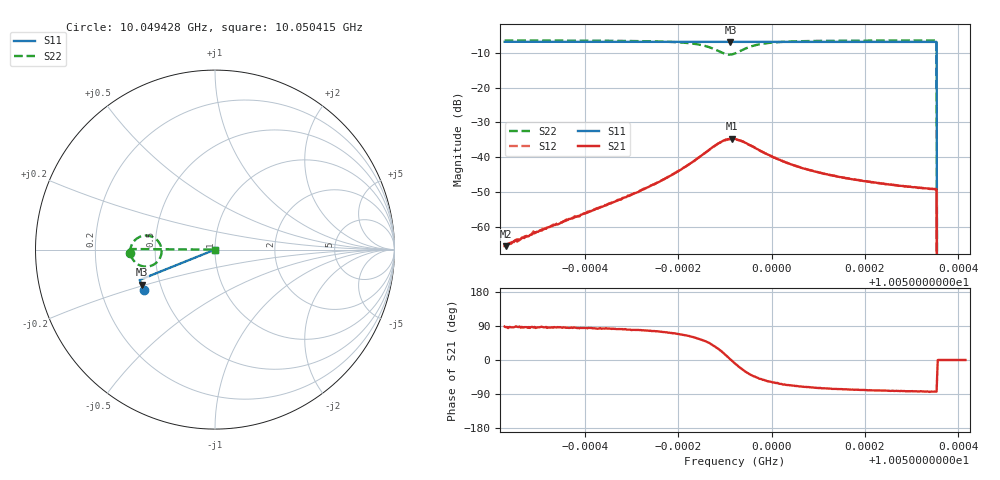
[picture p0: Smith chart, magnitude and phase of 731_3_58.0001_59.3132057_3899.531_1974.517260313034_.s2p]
#  HZ  S  RI  R  50.00
! Rohde & Schwarz Vector Network Analyzer
! Rohde-Schwarz,ZNB20-2Port,1311601062101988,3.16
! Created: UTC 3/21/2024, 1:23:06 AM
! freq[Hz]  re:S11  im:S11  re:S21  im:S21  re:S12  im:S12  re:S22  im:S22
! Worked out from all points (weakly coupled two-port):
!   401 points, 10.049428 GHz to 10.050415 GHz, reference 50 ohm
!   highest |S21| = -34.66 dB at 10.049914 GHz (marker M1); lowest = -65.5 dB at 10.049431 GHz (marker M2)
!   lowest |S11| = -6.9 dB at 10.049912 GHz (marker M3), VSWR 2.64, Z = 19.7 - j9.65 ohm
!   |S11| at or under -10 dB: 10.050353 GHz to end of sweep
!   |S22| runs from - to -6.5 dB; largest |S21 - S12| = 0.0012
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1.00494281e10  -0.3948 -0.2237  1.56e-05 0.000534  -3.49e-07 0.000538  -0.4736 -0.0176
1.00494306e10  -0.395 -0.2236  3.38e-05 0.000531  3.38e-06 0.000564  -0.4738 -0.0172
1.00494923e10  -0.3969 -0.22  4.12e-05 0.000843  -1.08e-05 0.000813  -0.4734 -0.0105
1.00495934e10  -0.4 -0.214  0.000149 0.00151  3.35e-05 0.00153  -0.4714 0.00259
1.00496822e10  -0.4025 -0.2085  0.000411 0.00257  0.000266 0.00262  -0.4673 0.0182
1.00497587e10  -0.4047 -0.2038  0.00112 0.0043  0.000937 0.00439  -0.4571 0.039
1.00498007e10  -0.4057 -0.2012  0.00236 0.00592  0.00203 0.00607  -0.4429 0.0557
1.00498253e10  -0.4064 -0.1996  0.00374 0.00719  0.0034 0.00741  -0.4272 0.0671
1.00498673e10  -0.4069 -0.1967  0.00932 0.00914  0.00886 0.00948  -0.3702 0.0774
1.00498944e10  -0.4068 -0.1951  0.0158 0.00608  0.0154 0.00675  -0.3128 0.0414
1.00499117e10  -0.4069 -0.1947  0.0184 0.000532  0.0181 0.0017  -0.2975 -0.0128
1.00499142e10  -0.4069 -0.1948  0.0185 -0.000309  0.0183 0.000772  -0.2983 -0.0214
1.00499216e10  -0.4071 -0.1946  0.0181 -0.003  0.0182 -0.00181  -0.3059 -0.0452
1.00499462e10  -0.4081 -0.194  0.0134 -0.00856  0.0139 -0.00752  -0.3576 -0.0908
1.00499808e10  -0.4096 -0.192  0.00728 -0.00945  0.0079 -0.00891  -0.4168 -0.0885
1.00500301e10  -0.4115 -0.1889  0.00351 -0.00772  0.00405 -0.00749  -0.4514 -0.0637
1.00500869e10  -0.413 -0.1853  0.00193 -0.00613  0.00234 -0.00603  -0.4647 -0.0423
1.00501708e10  -0.4154 -0.1802  0.00099 -0.00476  0.00131 -0.00474  -0.4714 -0.0224
1.00502522e10  -0.4173 -0.1751  0.000612 -0.00401  0.000869 -0.00401  -0.4737 -0.00925
1.00503484e10  -0.4196 -0.1691  0.000411 -0.0035  0.000577 -0.00347  -0.4747 0.00266
1.00503607e10  0 0  0 0  0 0  0 0
1.0050415e10  0 0  0 0  0 0  0 0
